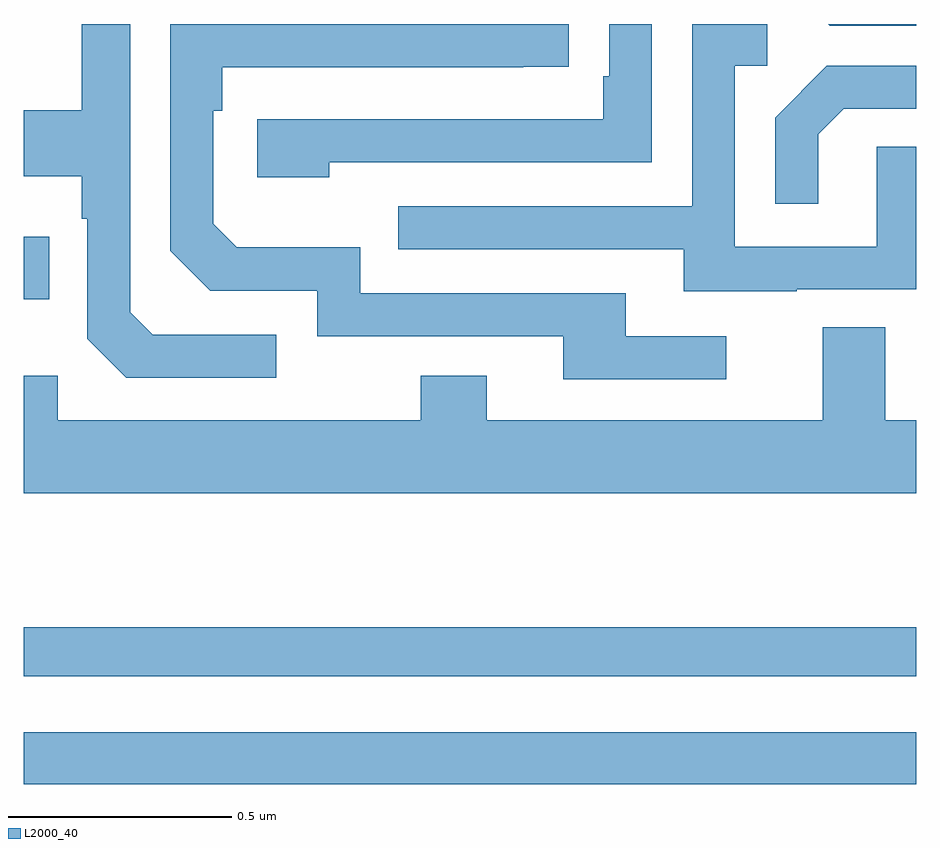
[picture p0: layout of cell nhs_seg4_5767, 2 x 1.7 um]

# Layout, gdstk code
import gdstk
lib = gdstk.Library(unit=1e-6, precision=1e-09)
def R(c, l, rs):  # rectangles x0, y0, x1, y1
    for r in rs: c.add(gdstk.rectangle(r[:2], r[2:], *l))
def P(c, l, *ps):  # polygons
    for p in ps: c.add(gdstk.Polygon(p, *l))
L2000_40 = (2000, 40)

nhs_seg4_5767 = lib.new_cell('nhs_seg4_5767')
R(nhs_seg4_5767, L2000_40, [(182,768.196,184,768.312), (182,768.438,184,768.547), (182,769.283,182.057,769.423)])
P(nhs_seg4_5767, L2000_40, [(183.733,769.305),(184,769.305),(184,769.625),(183.912,769.625),(183.912,769.401),(183.594,769.401),(183.594,769.806),(183.667,769.806),(183.667,769.9),(183.498,769.9),(183.498,769.491),(182.839,769.491),(182.839,769.395),(183.479,769.395),(183.479,769.301),(183.733,769.301)],
  [(182.566,769.203),(182.289,769.203),(182.238,769.254),(182.238,769.9),(182.13,769.9),(182.13,769.707),(182,769.707),(182,769.559),(182.13,769.559),(182.13,769.463),(182.142,769.463),(182.142,769.194),(182.229,769.107),(182.566,769.107)],
  [(183.574,769.2),(183.349,769.2),(183.349,769.296),(182.754,769.296),(182.754,769.399),(182.477,769.399),(182.424,769.452),(182.424,769.706),(182.444,769.706),(182.444,769.803),(183.119,769.803),(183.119,769.804),(183.221,769.804),(183.221,769.9),(183.125,769.9),(183.125,769.899),(182.735,769.899),(182.735,769.9),(182.623,769.9),(182.623,769.899),(182.328,769.899),(182.328,769.392),(182.418,769.302),(182.658,769.302),(182.658,769.2),(183.209,769.2),(183.209,769.104),(183.574,769.104)],
  [(182.684,769.59),(183.408,769.59),(183.408,769.9),(183.312,769.9),(183.312,769.783),(183.299,769.783),(183.299,769.686),(182.523,769.686),(182.523,769.556),(182.684,769.556)],
  [(184,769.9),(183.803,769.9),(183.807,769.896),(184,769.896)],
  [(183.781,769.653),(183.838,769.71),(184,769.71),(184,769.806),(183.8,769.806),(183.684,769.69),(183.684,769.497),(183.781,769.497)],
  [(184,769.012),(183.931,769.012),(183.931,769.22),(183.791,769.22),(183.791,769.012),(183.037,769.012),(183.037,769.111),(182.89,769.111),(182.89,769.012),(182.076,769.012),(182.076,769.111),(182,769.111),(182,768.848),(184,768.848)])

lib.write_gds('nhs_seg4_5767.gds')
